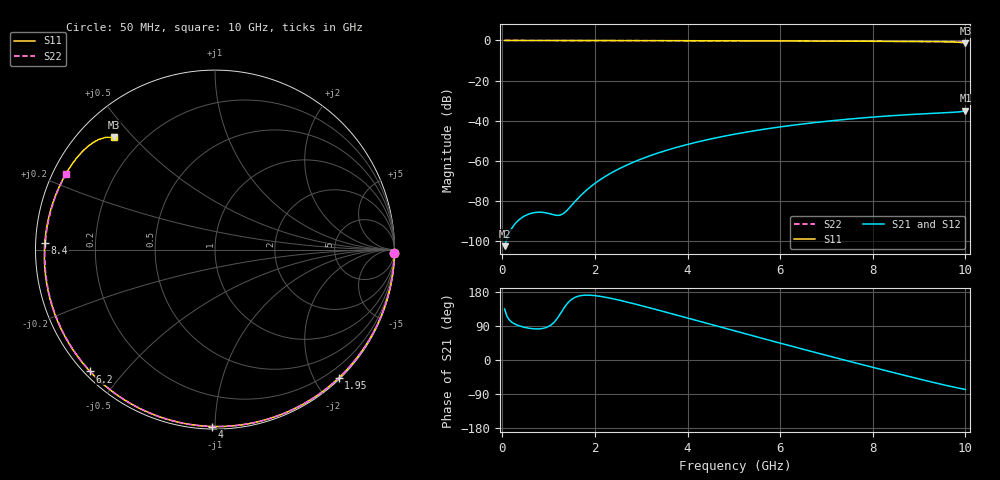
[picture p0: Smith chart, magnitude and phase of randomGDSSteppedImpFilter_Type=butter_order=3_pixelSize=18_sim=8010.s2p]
! freq	dB(S11)	phase(S11)	dB(S12)	phase(S12)
!  dB(S21)	phase(S21)	dB(S22)	phase(S22)
!S-par simulation data
#  GHz  S  DB  R 50
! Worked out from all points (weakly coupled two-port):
!   200 points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, 50 MHz to 10 GHz, reference 50 ohm
!   highest |S21| = -35.00 dB at 10 GHz (marker M1); lowest = -102.3 dB at 50 MHz (marker M2)
!   lowest |S11| = -1.5 dB at 10 GHz (marker M3), VSWR 11.72, Z = 5.1 + j22 ohm
!   |S11| at or under -10 dB: nowhere
!   |S22| runs from -0.6 to 0.0 dB; largest |S21 - S12| = 0
!   S11 on the Smith chart (normalised r, x): 50 MHz: 0, -95; 1.95 GHz: 0.02, -2.35; 4 GHz: 0.01, -0.98; 6.2 GHz: 0.02, -0.41; 8.4 GHz: 0.03, +0.02; 10 GHz: 0.10, +0.44
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0.05  -0.00 -1.2  -102.33 134.6  -102.33 134.6  -0.00 -1.2
0.75  -0.02 -18.1  -85.48 82.0  -85.48 82.0  -0.02 -17.3
1.55  -0.05 -36.9  -80.65 164.0  -80.65 164.0  -0.04 -35.4
1.6  -0.05 -38.0  -79.39 166.8  -79.39 166.8  -0.05 -36.5
1.75  -0.05 -41.5  -75.89 170.8  -75.89 170.8  -0.05 -39.9
1.95  -0.06 -46.1  -71.97 170.5  -71.97 170.5  -0.06 -44.3
2.25  -0.07 -52.9  -67.27 165.1  -67.27 165.1  -0.06 -50.8
2.6  -0.08 -60.8  -62.94 155.8  -62.94 155.8  -0.07 -58.4
3  -0.09 -69.6  -58.97 143.5  -58.97 143.5  -0.09 -66.9
3.4  -0.10 -78.3  -55.71 130.6  -55.71 130.6  -0.10 -75.2
4  -0.12 -91.0  -51.73 110.7  -51.73 110.7  -0.12 -87.4
4.5  -0.15 -101.4  -49.01 94.1  -49.01 94.1  -0.14 -97.3
5.05  -0.17 -112.6  -46.49 75.7  -46.49 75.7  -0.16 -108.0
6.2  -0.24 -135.7  -42.38 37.9  -42.38 37.9  -0.23 -129.8
6.7  -0.28 -145.9  -40.97 21.8  -40.97 21.8  -0.27 -139.3
7.55  -0.36 -163.5  -38.98 -5.3  -38.98 -5.3  -0.34 -155.5
8.35  -0.45 179.0  -37.53 -30.2  -37.53 -30.2  -0.42 -171.2
8.4  -0.45 177.8  -37.45 -31.8  -37.45 -31.8  -0.42 -172.2
8.95  -0.53 164.7  -36.68 -48.6  -36.68 -48.6  -0.49 176.5
9.45  -0.62 151.6  -36.09 -63.3  -36.09 -63.3  -0.55 165.7
9.8  -0.81 140.5  -35.64 -72.9  -35.64 -72.9  -0.59 157.8
10  -1.49 132.1  -35.00 -77.7  -35.00 -77.7  -0.61 153.1
